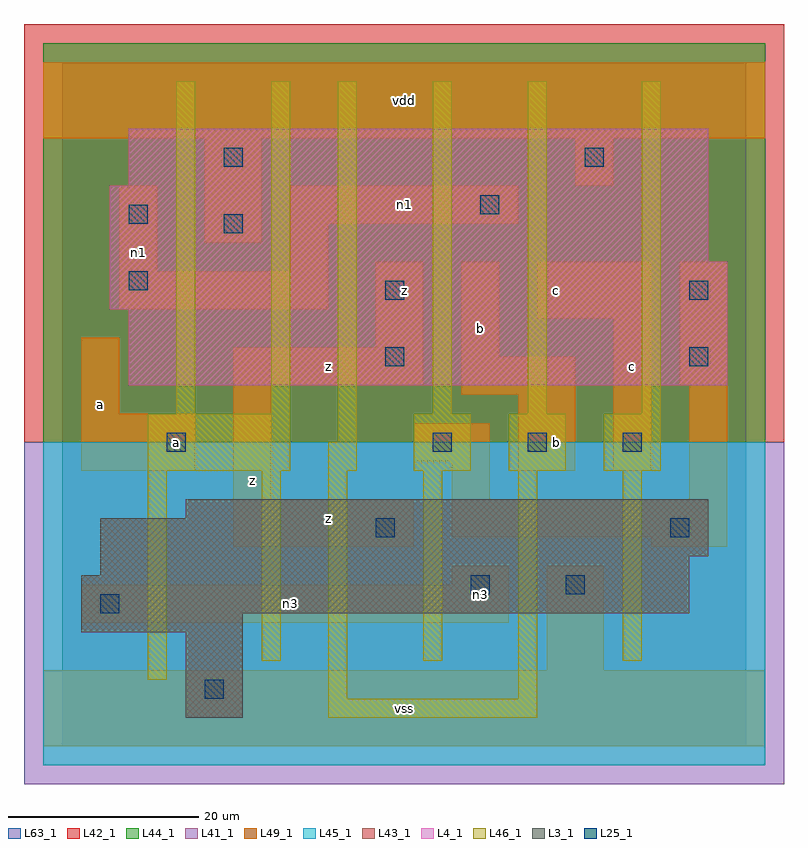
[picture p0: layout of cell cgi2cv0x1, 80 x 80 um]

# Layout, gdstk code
import gdstk
lib = gdstk.Library(unit=1e-6, precision=1e-09)
def R(c, l, rs):  # rectangles x0, y0, x1, y1
    for r in rs: c.add(gdstk.rectangle(r[:2], r[2:], *l))
def A(c, l, x, y, w, h, nx, ny, dx, dy):  # array of equal rectangles
    R(c, l, [(x+i*dx, y+j*dy, x+i*dx+w, y+j*dy+h) for i in range(nx) for j in range(ny)])
L3_1 = (3, 1)
L4_1 = (4, 1)
L25_1 = (25, 1)
L41_1 = (41, 1)
L42_1 = (42, 1)
L43_1 = (43, 1)
L44_1 = (44, 1)
L45_1 = (45, 1)
L46_1 = (46, 1)
L49_1 = (49, 1)
L63_1 = (63, 1)

cgi2cv0x1 = lib.new_cell('cgi2cv0x1')
R(cgi2cv0x1, L3_1, [(13,3,19,12), (2,12,19,14), (2,14,66,18), (4,18,66,20), (4,20,68,24), (13,24,68,26)])
R(cgi2cv0x1, L4_1, [(7,38,70,46), (5,46,70,51), (5,51,68,59), (7,59,68,65)])
A(cgi2cv0x1, L25_1, 39, 31, 2, 2, 3, 1, 10, 0)
R(cgi2cv0x1, L25_1, [(15,5,17,7), (4,14,6,16), (43,16,45,18), (53,16,55,18), (33,22,35,24), (64,22,66,24), (11,31,13,33), (34,40,36,42), (66,40,68,42), (34,47,36,49), (66,47,68,49), (7,48,9,50), (17,54,19,56), (7,55,9,57), (44,56,46,58), (17,61,19,63), (55,61,57,63)])
R(cgi2cv0x1, L41_1, [(-4,-4,76,32)])
R(cgi2cv0x1, L42_1, [(-4,32,76,76)])
R(cgi2cv0x1, L43_1, [(13,3,19,12), (2,12,19,14), (2,14,66,18), (4,18,66,20), (4,20,68,24), (13,24,68,26), (7,38,70,46), (5,46,70,51), (5,51,68,59), (7,59,68,65)])
R(cgi2cv0x1, L44_1, [(-2,32,74,74)])
R(cgi2cv0x1, L45_1, [(-2,-2,74,32)])
A(cgi2cv0x1, L46_1, 37, 29, 6, 6, 3, 1, 10, 0)
R(cgi2cv0x1, L46_1, [(28,3,50,5), (28,5,30,29), (48,5,50,29), (9,7,11,29), (21,9,23,29), (38,9,40,29), (59,9,61,29), (9,29,24,35), (28,29,31,32), (29,32,31,70), (12,35,14,70), (22,35,24,70), (39,35,41,70), (49,35,51,70), (61,35,63,70)])
R(cgi2cv0x1, L49_1, [(-2,0,74,8), (51,8,57,19), (2,13,47,17), (41,17,47,19), (18,21,37,26), (62,21,70,22), (41,22,70,26), (18,26,22,38), (41,26,45,30), (66,26,70,38), (2,29,14,35), (48,29,54,37), (58,29,62,45), (37,30,45,34), (2,35,6,43), (42,37,54,41), (18,38,38,42), (65,38,70,51), (42,41,46,51), (33,42,38,51), (50,45,62,51), (6,46,28,50), (6,50,10,59), (24,50,28,55), (15,53,21,64), (24,55,48,59), (54,59,58,64), (-2,64,74,72)])
R(cgi2cv0x1, L63_1, [(0,0,72,72)])
cgi2cv0x1.add(gdstk.Label('a', (12,32), layer=49, texttype=1))
cgi2cv0x1.add(gdstk.Label('a', (4,36), layer=49, texttype=1))
cgi2cv0x1.add(gdstk.Label('n1', (8,52), layer=49, texttype=1))
cgi2cv0x1.add(gdstk.Label('z', (20,28), layer=49, texttype=1))
cgi2cv0x1.add(gdstk.Label('z', (28,24), layer=49, texttype=1))
cgi2cv0x1.add(gdstk.Label('z', (28,40), layer=49, texttype=1))
cgi2cv0x1.add(gdstk.Label('vss', (36,4), layer=49, texttype=1))
cgi2cv0x1.add(gdstk.Label('n3', (24,15), layer=49, texttype=1))
cgi2cv0x1.add(gdstk.Label('n3', (44,16), layer=49, texttype=1))
cgi2cv0x1.add(gdstk.Label('b', (52,32), layer=49, texttype=1))
cgi2cv0x1.add(gdstk.Label('z', (36,48), layer=49, texttype=1))
cgi2cv0x1.add(gdstk.Label('c', (52,48), layer=49, texttype=1))
cgi2cv0x1.add(gdstk.Label('b', (44,44), layer=49, texttype=1))
cgi2cv0x1.add(gdstk.Label('n1', (36,57), layer=49, texttype=1))
cgi2cv0x1.add(gdstk.Label('vdd', (36,68), layer=49, texttype=1))
cgi2cv0x1.add(gdstk.Label('c', (60,40), layer=49, texttype=1))

lib.write_gds('cgi2cv0x1.gds')
